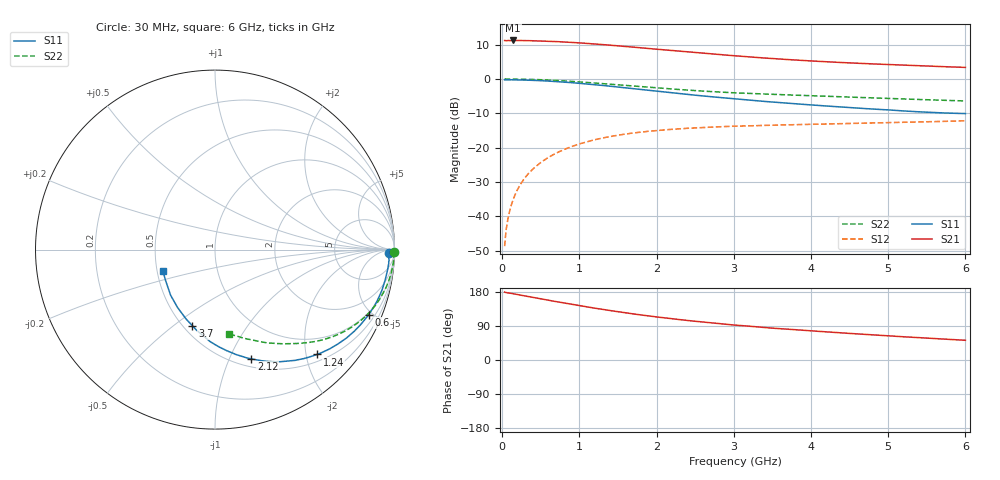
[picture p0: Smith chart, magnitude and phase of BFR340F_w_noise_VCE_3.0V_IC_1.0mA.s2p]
! Infineon Technologies  Discrete & RF Semiconductors
! BFR340F
! VCE =  3.0 V,  IC =  1.0 mA
! Common Emitter S-Parameters:  Nov 2015
# GHz  S  MA  R  50
!  f  S11  S21  S12  S22
! GHz  MAG  ANG  MAG  ANG  MAG  ANG  MAG  ANG
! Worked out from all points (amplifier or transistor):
!   206 points, 30 MHz to 6 GHz, reference 50 ohm
!   highest |S21| = 11.2 dB at 140 MHz (marker M1)
!   |S21| within 3 dB of that: start of sweep to 2.227 GHz
!   unconditionally stable (mu >= 1): 5.755 GHz to end of sweep
!   at 200 MHz: K = 0.04, MSG = 21.6 dB, |S12| = -32.1 dB
!   at 1.56 GHz: K = 0.36, MSG = 12.8 dB, |S12| = -16.2 dB
!   at 6 GHz: K = 1.01, MAG = 7.1 dB, |S12| = -12.2 dB
!   lowest NFmin = 1.05 dB at 1.9 GHz
!   S11 on the Smith chart (normalised r, x): 30 MHz: 45, -32; 600 MHz: 0.89, -4.76; 1.24 GHz: 0.64, -2.22; 2.12 GHz: 0.58, -1.21; 3.7 GHz: 0.56, -0.59; 6 GHz: 0.54, -0.14
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0.03  0.9708 -1.2  3.622 179.1  0.0037 89.7  0.998 -0.8
0.05  0.9661 -2.0  3.591 177.6  0.0064 88.1  0.9975 -1.4
0.07  0.9689 -2.8  3.619 177.0  0.0089 88.0  0.998 -1.9
0.1  0.9702 -3.9  3.593 176.3  0.0125 87.3  0.9974 -2.7
0.14  0.9696 -5.5  3.623 174.9  0.0175 86.3  0.9963 -3.8
0.22  0.9654 -8.6  3.618 171.8  0.0274 84.3  0.9933 -6.0
0.32  0.9592 -12.4  3.603 168.1  0.0397 81.7  0.9876 -8.7
0.6  0.9298 -23.0  3.527 157.6  0.0725 74.8  0.9618 -16.0
0.8  0.8994 -30.4  3.439 150.4  0.094 70.0  0.9358 -21.0
1.04  0.8554 -38.9  3.316 142.1  0.117 64.7  0.8979 -26.6
1.24  0.8159 -45.7  3.195 135.4  0.1338 60.6  0.864 -30.9
1.6  0.7399 -57.2  2.964 124.3  0.1581 54.1  0.8018 -37.9
2.02  0.6601 -68.9  2.69 113.1  0.1783 48.3  0.7374 -44.5
2.12  0.6417 -71.6  2.628 110.8  0.1821 47.2  0.7234 -45.9
2.58  0.5679 -83.2  2.373 100.4  0.1964 42.7  0.6669 -51.8
2.82  0.5363 -88.7  2.255 95.6  0.2019 41.0  0.6436 -54.6
3.1  0.5024 -94.7  2.13 90.8  0.2066 39.5  0.6216 -57.2
3.5  0.4611 -102.8  1.976 84.0  0.2125 37.9  0.5964 -60.7
3.7  0.4429 -106.5  1.912 81.3  0.2149 37.5  0.5859 -61.9
4.1  0.4113 -114.4  1.799 75.6  0.2198 37.0  0.5653 -64.6
5.1  0.348 -136.5  1.601 62.5  0.2322 37.1  0.5155 -72.6
6  0.3136 -158.2  1.47 52.0  0.2466 39.0  0.4778 -80.3
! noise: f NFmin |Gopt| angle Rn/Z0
1.9  1.05  0.63  15  0.7
